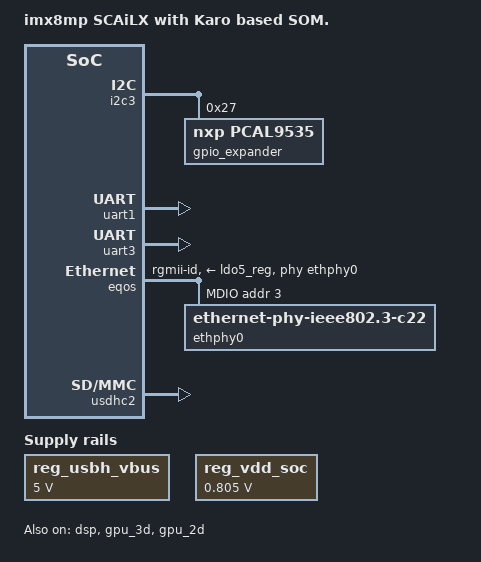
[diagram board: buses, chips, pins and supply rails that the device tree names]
// SPDX-License-Identifier: (GPL-2.0 OR MIT)
/*
 * Copyright (C) 2020 Markus Bauer <mb@karo-electronics.de>
 *
 */

#include "imx8mp-qsxp-ml81.dts"

/ {
	model = "imx8mp SCAiLX with Karo based SOM.";
	
	aliases {
		pcie = &pcie;
		pcie_phy = &pcie_phy;
		serial3 = &uart3;

		csi1_i2c = &i2c3;
		csi2_i2c = &i2c2;
		dsi1_i2c = &i2c2;

		gpio-a-i2c = &i2c3;
		gpio-a-uart = &uart1;
		gpio-a-debug = &uart4;
		gpio-a-can = &flexcan2;
		gpio-a-spi = &ecspi2;
		gpio-a-usb = &usb3_1;
		gpio-a-usb_dwc = &usb_dwc3_1; 
		gpio-a-usb_phy = &usb3_phy1;

		gpio-b-i2c = &i2c2;
		gpio-b-uart = &uart3;
		gpio-b-debug = &uart2;
		gpio-b-can = &flexcan1;
		gpio-b-spi = &ecspi1;
		gpio-b-usb = &usb3_0;
		gpio-b-usb_dwc = &usb_dwc3_0;
		gpio-b-usb_phy = &usb3_phy0;
	};

	reg_usbh_vbus: regulator-usbh-vbus {
		compatible = "regulator-fixed";
		regulator-name = "USBH-VBUS";
		regulator-min-microvolt = <5000000>;
		regulator-max-microvolt = <5000000>;
		regulator-always-on;
	};

	// scailx_gpio_a: scailxGpioA {
		// dummy node to give labels for the applicable GPIO devices. 

	// };

};

// create second label for devices to group them to the ascociated port on the SCAILX device. 
csi1_i2c: &i2c3{};
csi2_i2c: &i2c2{};
dsi1_i2c: &i2c2{};

gpio_a_i2c: &i2c3 {};
gpio_a_uart: &uart1 {};
gpio_a_debug: &uart4{};
gpio_a_can: &flexcan2{};
gpio_a_spi: &ecspi2{};
gpio_a_usb: &usb3_1{};
gpio_a_usb_dwc: &usb_dwc3_1{};
gpio_a_usb_phy: &usb3_phy1{};

gpio_b_i2c: &i2c2{};
gpio_b_uart: &uart3{};
gpio_b_debug: &uart2{};
gpio_b_can: &flexcan1{};
gpio_b_spi: &ecspi1{};
gpio_b_usb: &usb3_0{};
gpio_b_usb_dwc: &usb_dwc3_0{};
gpio_b_usb_phy: &usb3_phy0{};

/* reconfigure UARTS */
&uart1 { 
	/* remove RTS-CTS */
	pinctrl-names = "default";
	pinctrl-0 = <&pinctrl_uart1>;
	/delete-property/ uart-has-rtscts;
	status = "okay";
};
&uart3{
	pinctrl-names = "default";
	pinctrl-0 = <&pinctrl_uart3>;
	status = "okay";
};


&dsp {
	status = "okay";
};

&eqos {
	pinctrl-names = "default", "sleep";
	pinctrl-0 = <&pinctrl_eqos>;
	pinctrl-1 = <&pinctrl_eqos_sleep>;
	phy-mode = "rgmii-id";
	phy-handle = <&ethphy0>;
	phy-supply = <&ldo5_reg>;
	status = "okay";

	mdio {
		compatible = "snps,dwmac-mdio";
		pinctrl-names = "default";
		pinctrl-0 = <&pinctrl_etnphy_rst_b>;
		reset-gpios = <&gpio4 22 GPIO_ACTIVE_LOW>;
		reset-delay-us = <10000>;
		reset-post-delay-us = <60000>;
		#address-cells = <1>;
		#size-cells = <0>;

		ethphy0: ethernet-phy@3 {
			compatible = "ethernet-phy-ieee802.3-c22";
			reg = <3>;
			eee-broken-1000t;
			realtek,clkout-disable;
			micrel,force-master;
			rxd0-skew-ps = <(420 + 99)>;
			rxd1-skew-ps = <(420 + 119)>;
			rxd2-skew-ps = <(420 + 111)>;
			rxd3-skew-ps = <(420 + 129)>;
			txd0-skew-ps = <(420 + 204)>;
			txd1-skew-ps = <(420 + 178)>;
			txd2-skew-ps = <(420 + 192)>;
			txd3-skew-ps = <(420 + 151)>;
			rxdv-skew-ps = <(420 + 129)>;
			txen-skew-ps = <(420 + 150)>;
			rxc-skew-ps = <(900 + 139)>;
			txc-skew-ps = <(900 + 150)>;
		};
	};
};

&gpu_3d {
	status = "okay";
};

&gpu_2d {
	status = "okay";
};

&i2c3 {
	gpio_expander: gpio@27 {
		compatible = "nxp,pcal9535";
		reg = <0x27>;
		#gpio-cells = <2>;
		gpio-controller;
		
		// pinctrl-names = "default";
		// pinctrl-0 = <&pinctrl_expander_int>;
		// interrupt-parent = <&gpio4>;
		// interrupts = <24 IRQ_TYPE_LEVEL_LOW>;

		gpio-line-names =
			"PWR-EN_GPIOA",
			"RST_CAM-B",
			"PCIe_PERST",
			"GPIOA-GP3",
			"PCIe_WAKE",
			"DISP-EN_DSI",
			"GPIOB-GP2",
			"PWR-EN_GPIOB",
			"ALERT_CAM-A",
			"RST_CAM-A",
			"PWR-EN_CAM-A",
			"Reserved_CAM-B",
			"ALERT_CAM-B",
			"PWR-EN_CAM-B",
			"Reserved_CAM-A",
			"";
	};
};

&i2c4 {
	status = "disabled";
};

&pcie {
	pinctrl-names = "default";
	pinctrl-0 = <&pinctrl_pcie>;
	bus-range = <0x00 0xff>;
	reset-gpio = <&gpio_expander 2 GPIO_ACTIVE_LOW>;
	ext_osc = <1>;
	clocks = <&clk IMX8MP_CLK_HSIO_ROOT>,
		 <&clk IMX8MP_CLK_PCIE_AUX>,
		 <&clk IMX8MP_CLK_HSIO_AXI>,
		 <&clk IMX8MP_CLK_PCIE_ROOT>;
	clock-names = "pcie", "pcie_aux", "pcie_phy", "pcie_bus";
	assigned-clocks = <&clk IMX8MP_CLK_HSIO_AXI>,
			  <&clk IMX8MP_CLK_PCIE_AUX>;
	assigned-clock-rates = <500000000>, <10000000>;
	assigned-clock-parents = <&clk IMX8MP_SYS_PLL2_500M>,
				 <&clk IMX8MP_SYS_PLL2_50M>;
	l1ss-disabled;
	status = "disabled";

	wifi_wake_host {
		compatible = "nxp,wifi-wake-host";
		interrupt-parent = <&gpio_expander>;
		interrupts = <4 IRQ_TYPE_LEVEL_LOW>;
		interrupt-names = "host-wake";
	};
};

&pcie_phy {
	ext_osc = <1>;
	status = "disabled";
};

&reg_vdd_soc {
	/* PCIe requires a minimum vdd soc voltage of 0.805V */
	regulator-min-microvolt = <805000>;
};

&usdhc2 {
	status = "okay";
};

// imx8m PIN MUX REGISTERS:
//   |---|---|---|---| # |---|---|---|---| # |---|---|---|SION| # |---|MUX|MUX|MUX|
//     IOMUXC_MUX_SION_ENABLED     0x40000000  // enable software read of pin state irrespective of mux function.    

// imx8m PIN PAD CTRL REGISTERS: 
//   |---|---|---|---| # |---|---|---|PE | # |HYS|PUE|ODE|SLR| # |slr?|DSE|DSE|dse?|
// hysteresis - Schmitt-trigger enable or regular CMOS
//     IOMUXC_PAD_HYS_ENABLED      0x00000080
// Pull-up/down     (when enabled, approx 27k PU, or 100k PD)
//     IOMUXC_PAD_PULL_ENABLED     0x00000100
//     IOMUXC_PAD_PULL_PUE         0x00000040  // 0x40 -s PU, 0 is PD if PE is on
//     IOMUXC_PAD_ODE_ENABLED      0x00000020
// Slew-rate control
//     IOMUXC_PAD_SRE_FAST         0x00000010
// Drive Strength 
//     IOMUXC_PAD_DSE_X1           0x00000000  (Weakest)
//     IOMUXC_PAD_DSE_X2           0x00000002
//     IOMUXC_PAD_DSE_X4           0x00000004  
//     IOMUXC_PAD_DSE_X6           0x00000006  (Strongest)

&iomuxc {
	pinctrl_etnphy_int_b: etnphy-int-bgrp {
		fsl,pins = <
			    MX8MP_IOMUXC_SAI2_RXFS__GPIO4_IO21		0x90
		>;
	};

	pinctrl_etnphy_rst_b: etnphy-rst-bgrp {
		fsl,pins = <
			    MX8MP_IOMUXC_SAI2_RXC__GPIO4_IO22		0x140
		>;
	};

	pinctrl_eqos: eqosgrp {
		fsl,pins = <
			    MX8MP_IOMUXC_GPIO1_IO00__CCM_ENET_PHY_REF_CLK_ROOT 0x150
			    MX8MP_IOMUXC_ENET_MDC__ENET_QOS_MDC		0x142
			    MX8MP_IOMUXC_ENET_MDIO__ENET_QOS_MDIO	0x142
			    MX8MP_IOMUXC_ENET_TXC__CCM_ENET_QOS_CLOCK_GENERATE_TX_CLK 0x000
			    MX8MP_IOMUXC_ENET_TD0__ENET_QOS_RGMII_TD0	0x016
			    MX8MP_IOMUXC_ENET_TD1__ENET_QOS_RGMII_TD1	0x016
			    MX8MP_IOMUXC_ENET_TD2__ENET_QOS_RGMII_TD2	0x016
			    MX8MP_IOMUXC_ENET_TD3__ENET_QOS_RGMII_TD3	0x016
			    MX8MP_IOMUXC_ENET_RD0__ENET_QOS_RGMII_RD0	0x150
			    MX8MP_IOMUXC_ENET_RD1__ENET_QOS_RGMII_RD1	0x150
			    MX8MP_IOMUXC_ENET_RD2__ENET_QOS_RGMII_RD2	0x150
			    MX8MP_IOMUXC_ENET_RD3__ENET_QOS_RGMII_RD3	0x150
			    MX8MP_IOMUXC_ENET_RXC__CCM_ENET_QOS_CLOCK_GENERATE_RX_CLK 0x116
			    MX8MP_IOMUXC_ENET_RX_CTL__ENET_QOS_RGMII_RX_CTL 0x156
			    MX8MP_IOMUXC_ENET_TX_CTL__ENET_QOS_RGMII_TX_CTL 0x016
		>;
	};

	pinctrl_eqos_sleep: eqos-sleep-grp {
		fsl,pins = <
			    MX8MP_IOMUXC_GPIO1_IO00__GPIO1_IO00		0x120
			    MX8MP_IOMUXC_ENET_MDC__GPIO1_IO16		0x120
			    MX8MP_IOMUXC_ENET_MDIO__GPIO1_IO17		0x120
			    MX8MP_IOMUXC_ENET_TXC__GPIO1_IO23		0x120
			    MX8MP_IOMUXC_ENET_TD0__GPIO1_IO21		0x120
			    MX8MP_IOMUXC_ENET_TD1__GPIO1_IO20		0x120
			    MX8MP_IOMUXC_ENET_TD2__GPIO1_IO19		0x120
			    MX8MP_IOMUXC_ENET_TD3__GPIO1_IO18		0x120
			    MX8MP_IOMUXC_ENET_RD0__GPIO1_IO26		0x120
			    MX8MP_IOMUXC_ENET_RD1__GPIO1_IO27		0x120
			    MX8MP_IOMUXC_ENET_RD2__GPIO1_IO28		0x120
			    MX8MP_IOMUXC_ENET_RD3__GPIO1_IO29		0x120
			    MX8MP_IOMUXC_ENET_RXC__GPIO1_IO25		0x120
			    MX8MP_IOMUXC_ENET_RX_CTL__GPIO1_IO24	0x120
			    MX8MP_IOMUXC_ENET_TX_CTL__GPIO1_IO22	0x120
		>;
	};

	pinctrl_expander_int: expander_int_gpiogrp {
		fsl,pins = <
			MX8MP_IOMUXC_SAI2_TXFS__GPIO4_IO24		0x150 /* pull up, fast-slew */
		>;
	};

	pinctrl_pcie: pciegrp {
		fsl,pins = <
			MX8MP_IOMUXC_I2C4_SCL__PCIE_CLKREQ_B	0x61 /* open drain, external pull up */
		>;
	};

	pinctrl_uart3: uart3grp {
		fsl,pins = <
			MX8MP_IOMUXC_UART3_TXD__UART3_DCE_TX		0x140
			MX8MP_IOMUXC_UART3_TXD__UART3_DTE_RX		0x140
		>;
	};

};
